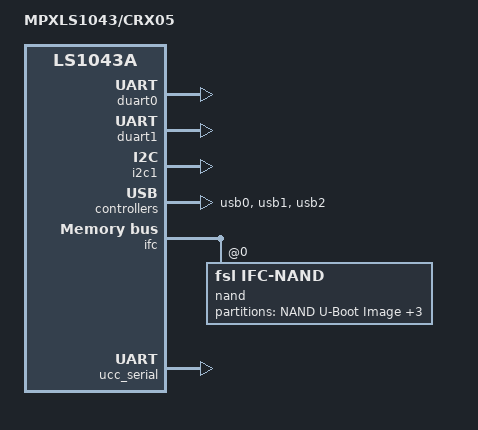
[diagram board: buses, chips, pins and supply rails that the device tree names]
/*
 * Device Tree Include file for Freescale Layerscape-1043A family SoC.
 *
 * Copyright 2019 NXP
 * Copyright (C) 2019 MicroSys Electronics GmbH
 *
 * Mingkai Hu <Mingkai.hu@freescale.com>
 *
 * This file is dual-licensed: you can use it either under the terms
 * of the GPLv2 or the X11 license, at your option. Note that this dual
 * licensing only applies to this file, and not this project as a
 * whole.
 *
 *  a) This library is free software; you can redistribute it and/or
 *     modify it under the terms of the GNU General Public License as
 *     published by the Free Software Foundation; either version 2 of the
 *     License, or (at your option) any later version.
 *
 *     This library is distributed in the hope that it will be useful,
 *     but WITHOUT ANY WARRANTY; without even the implied warranty of
 *     MERCHANTABILITY or FITNESS FOR A PARTICULAR PURPOSE.  See the
 *     GNU General Public License for more details.
 *
 * Or, alternatively,
 *
 *  b) Permission is hereby granted, free of charge, to any person
 *     obtaining a copy of this software and associated documentation
 *     files (the "Software"), to deal in the Software without
 *     restriction, including without limitation the rights to use,
 *     copy, modify, merge, publish, distribute, sublicense, and/or
 *     sell copies of the Software, and to permit persons to whom the
 *     Software is furnished to do so, subject to the following
 *     conditions:
 *
 *     The above copyright notice and this permission notice shall be
 *     included in all copies or substantial portions of the Software.
 *
 *     THE SOFTWARE IS PROVIDED "AS IS", WITHOUT WARRANTY OF ANY KIND,
 *     EXPRESS OR IMPLIED, INCLUDING BUT NOT LIMITED TO THE WARRANTIES
 *     OF MERCHANTABILITY, FITNESS FOR A PARTICULAR PURPOSE AND
 *     NONINFRINGEMENT. IN NO EVENT SHALL THE AUTHORS OR COPYRIGHT
 *     HOLDERS BE LIABLE FOR ANY CLAIM, DAMAGES OR OTHER LIABILITY,
 *     WHETHER IN AN ACTION OF CONTRACT, TORT OR OTHERWISE, ARISING
 *     FROM, OUT OF OR IN CONNECTION WITH THE SOFTWARE OR THE USE OR
 *     OTHER DEALINGS IN THE SOFTWARE.
 */

/dts-v1/;
#include "fsl-ls1043a.dtsi"
#include "qoriq-qman-portals-sdk.dtsi"
#include "qoriq-bman-portals-sdk.dtsi"

/ {
	model = "MPXLS1043/CRX05";
	compatible = "fsl,ls1043a-rdb", "fsl,ls1043a";

	aliases {

		ethernet0 = &enet1;
		ethernet1 = &enet2;
		ethernet2 = &enet6;

		serial0 = &duart0;
		serial1 = &duart1;
		serial2 = &duart2;
		serial3 = &duart3;

		mdio0 = &mdio0;
		mdio1 = &xmdio0;

		crypto = &crypto;
	};

	chosen {
		stdout-path = "serial0:115200n8";
	};
};

&bman_fbpr {
	compatible = "fsl,bman-fbpr";
	alloc-ranges = <0 0 0x10000 0>;
};
&qman_fqd {
	compatible = "fsl,qman-fqd";
	alloc-ranges = <0 0 0x10000 0>;
};
&qman_pfdr {
	compatible = "fsl,qman-pfdr";
	alloc-ranges = <0 0 0x10000 0>;
};


&esdhc {
	compatible = "microsys,mpxls1043-esdhc", "fsl,ls1043a-esdhc", "fsl,esdhc";
	mmc-hs200-1_8v;
};

&duart0 {
	status = "okay";
};

&duart1 {
	status = "okay";
};

&i2c1 {
	status = "okay";
};

&usb0 {
	status = "okay";
};

&usb1 {
	status = "okay";
};

&usb2 {
	status = "okay";
};

#include "fsl-ls1043-post.dtsi"
#include "mpxls10xx_common.dtsi"
#include "mpxls1043_crx05.dtsi"

&ifc {
	status = "okay";
	#address-cells = <2>;
	#size-cells = <1>;
	/* NAND Flashe on board */
	ranges = <0x0 0x0 0x0 0x7e800000 0x00010000>;

		nand@0,0 {
			compatible = "fsl,ifc-nand";
			#address-cells = <1>;
			#size-cells = <1>;
			reg = <0x0 0x0 0x10000>;

			partition@0 {
				/* This location must not be altered  */
				/* 1MB for u-boot Bootloader Image */
				reg = <0x0 0x00100000>;
				label = "NAND U-Boot Image";
				read-only;
			};

			partition@100000 {
				/* 1MB for u-boot env and microcode Image */
				reg = <0x00100000 0x00100000>;
				label = "NAND U-Boot Env";
			};

			partition@200000 {
				/* 32MB for FIT Image */
				reg = <0x00200000 0x01E00000>;
				label = "NAND FIT Image";
			};

			partition@02000000 {
				/* remaining space for UBIFS Root File System Image */
				reg = <0x02000000 0x1e000000>;
				label = "NAND (RW) UBIFS Root File System";
			};
		};
};

&qflash0 {
		partition@0 {
			reg = <0x0 0x2000>;
			label = "rcw";
		};
		partition@1 {
			reg = <0x2000 0xe000>;
			label = "ppa";
		};
		partition@2 {
			reg = <0x900000 0xa000>;
			label = "fman";
		};
		partition@3 {
			reg = <0x100000 0x100000>;
			label = "u-boot";
		};
		partition@4 {
			reg = <0x300000 0x2000>;
			label = "env";
		};
		partition@5 {
			reg = <0x500000 0xb00000>;
			label = "kernel";
		};
};

&xmdio0 {
};

&soc {
#include "qoriq-dpaa-eth.dtsi"
#include "qoriq-fman3-0-6oh.dtsi"
};

&fsldpaa {

	ethernet@0 {
		status = "disabled";
	};

	ethernet@3 {
		status = "disabled";
	};

	ethernet@4 {
		status = "disabled";
	};

	ethernet@5 {
		status = "disabled";
	};
};

&fman0 {

	compatible = "fsl,fman", "simple-bus";

	ethernet@e0000 {
		status = "disabled";
	};

	ethernet@e2000 {
		phy-handle = <&sgmii_phy1>;
		phy-connection-type = "sgmii";
	};

	ethernet@e4000 {
		phy-handle = <&rgmii_phy1>;
		phy-connection-type = "rgmii";
	};

	ethernet@e6000 {
		status = "disabled";
	};

	ethernet@e8000 {
		status = "disabled";
	};

	ethernet@ea000 {
		status = "disabled";
	};

	ethernet@f0000 {
		phy-handle = <&sgmii_phy2>;
		phy-connection-type = "sgmii";
	};
};

&uqe {
	ucc_hdlc: ucc@2000 {
		compatible = "fsl,ucc_hdlc";
		rx-clock-name = "clk8";
		tx-clock-name = "clk9";
		fsl,rx-sync-clock = "rsync_pin";
		fsl,tx-sync-clock = "tsync_pin";
		fsl,tx-timeslot = <0xfffffffe>;
		fsl,rx-timeslot = <0xfffffffe>;
		fsl,tdm-framer-type = "e1";
		fsl,tdm-mode = "normal";
		fsl,tdm-id = <0>;
		fsl,siram-entry-id = <0>;
		fsl,tdm-interface;
	};

	ucc_serial: ucc@2200 {
		device_type = "serial";
		compatible = "ucc_uart";
		port-number = <0>;
		rx-clock-name = "brg2";
		tx-clock-name = "brg2";
	};
};
&soc {
/delete-property/ dma-coherent;

#include "qoriq-dpaa-eth.dtsi"
#include "qoriq-fman3-0-6oh.dtsi"

pcie@3400000 {
	/delete-property/ iommu-map;
};

pcie@3500000 {
	/delete-property/ iommu-map;
};

pcie@3600000 {
	/delete-property/ iommu-map;
};

/delete-node/ iommu@9000000;
};

&fman0 {
	compatible = "fsl,fman", "simple-bus";
};


&clockgen {
	dma-coherent;
};

&scfg {
	dma-coherent;
};

&crypto {
	dma-coherent;
};

&dcfg {
	dma-coherent;
};

&ifc {
	dma-coherent;
};

&qspi {
	dma-coherent;
};

&esdhc {
	dma-coherent;
};

&ddr {
	dma-coherent;
};

&tmu {
	dma-coherent;
};

&qman {
	dma-coherent;
};

&bman {
	dma-coherent;
};

&bportals {
	dma-coherent;
};

&qportals {
	dma-coherent;
};


&i2c0 {
	dma-coherent;
};

&i2c1 {
	dma-coherent;
};

&i2c2 {
	dma-coherent;
};

&i2c3 {
	dma-coherent;
};

&duart0 {
	dma-coherent;
};

&duart1 {
	dma-coherent;
};

&duart2 {
	dma-coherent;
};

&duart3 {
	dma-coherent;
};


&gpio1 {
	dma-coherent;
};

&gpio2 {
	dma-coherent;
};

&gpio3 {
	dma-coherent;
};

&lpuart0 {
	dma-coherent;
};

&lpuart1 {
	dma-coherent;
};

&lpuart2 {
	dma-coherent;
};

&lpuart3 {
	dma-coherent;
};

&lpuart4 {
	dma-coherent;
};

&lpuart5 {
	dma-coherent;
};

&ftm_alarm0 {
	dma-coherent;
};

&wdog0 {
	dma-coherent;
};

&edma0 {
	dma-coherent;
};

&sata {
	dma-coherent;
};

&qdma {
	dma-coherent;
};

&msi1 {
	dma-coherent;
};

&msi2 {
	dma-coherent;
};

&msi3 {
	dma-coherent;
};

&fman0 {
	dma-coherent;
};

&ptp_timer0 {
	dma-coherent;
};

&fsldpaa {
	dma-coherent;
};
